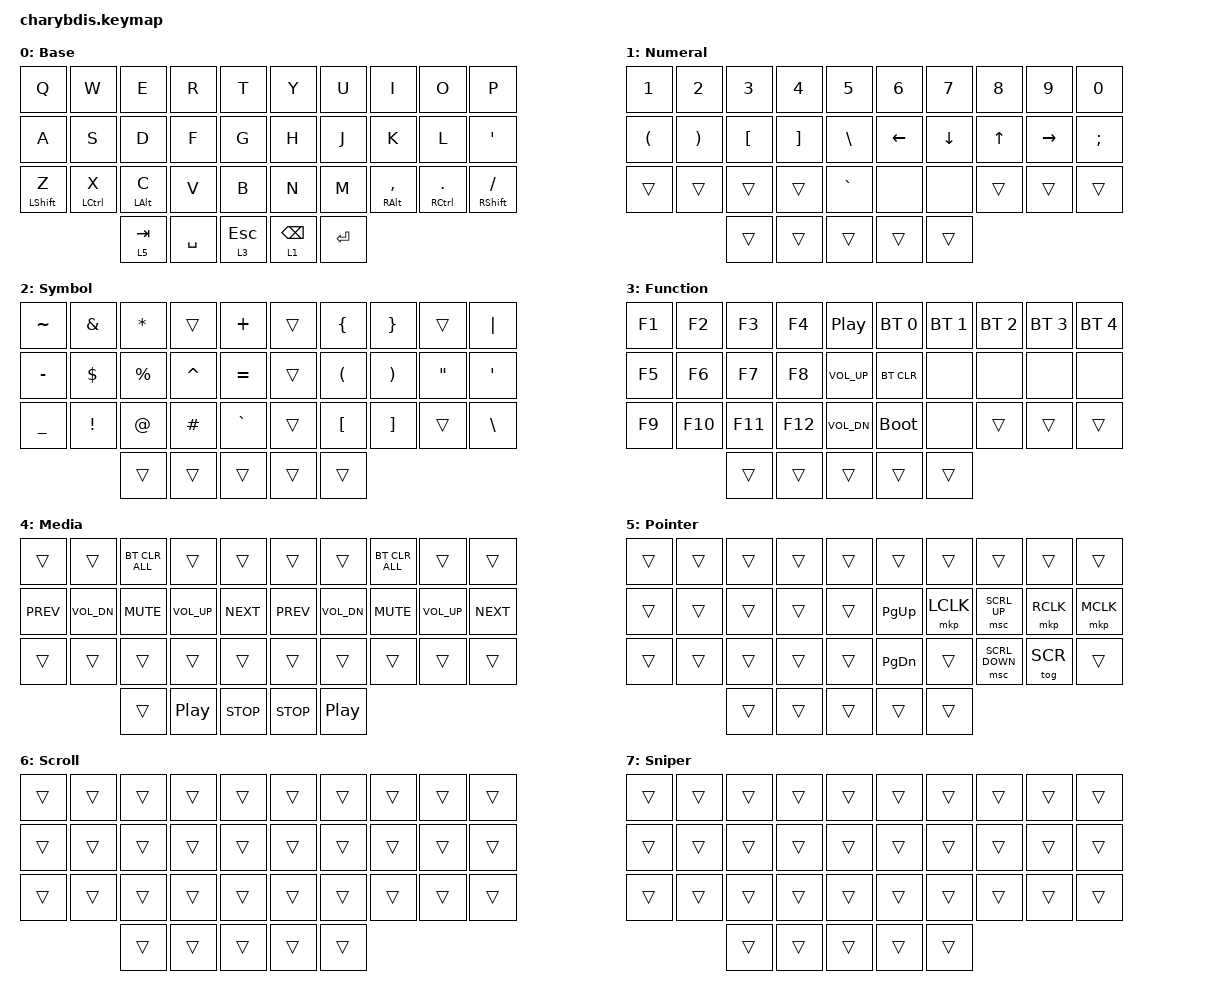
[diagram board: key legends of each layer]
#include <dt-bindings/zmk/mouse.h>
#include <behaviors/mouse_keys.dtsi>
#include <behaviors.dtsi>
#include <dt-bindings/zmk/bt.h>
#include <dt-bindings/zmk/keys.h>
#include <dt-bindings/zmk/pointing.h>

#define BASE 0
#define NUFU 1
#define SYM 2
#define NAV 3
#define MED 4
#define POI 5
#define SCR 6
#define SNI 7

&sl { release-after-ms = <250>; };

&mt {
    tapping-term-ms = <200>;
    require-prior-idle-ms = <150>;
};

/ {
    chosen { zmk,matrix_transform = &five_column_transform; };

    behaviors {
        hml: homewrow_mods_left {
            compatible = "zmk,behavior-hold-tap";
            label = "HOMEROW_MODS_LEFT_HAND";
            bindings = <&kp>, <&kp>;

            #binding-cells = <2>;
            tapping-term-ms = <280>;
            hold-trigger-key-positions = <5 6 7 8 9 15 16 17 18 19 25 26 27 28 29 33 34>;
            flavor = "balanced";
            quick-tap-ms = <175>;
            require-prior-idle-ms = <125>;
            hold-trigger-on-release;
        };

        hmr: homewrow_mods_right {
            compatible = "zmk,behavior-hold-tap";
            label = "HOMEROW_MODS_RIGHT_HAND";
            bindings = <&kp>, <&kp>;

            #binding-cells = <2>;
            tapping-term-ms = <280>;
            hold-trigger-key-positions = <0 1 2 3 4 10 11 12 13 14 20 21 22 23 24 30 31 32>;
            flavor = "balanced";
            quick-tap-ms = <175>;
            require-prior-idle-ms = <125>;
            hold-trigger-on-release;
        };
    };

    combos {
        compatible = "zmk,combos";

        minus {
            bindings = <&kp MINUS>;
            key-positions = <16 17>;
        };

        equal {
            bindings = <&kp EQUAL>;
            key-positions = <17 18>;
        };

        combo_l_leftclick {
            bindings = <&mkp LCLK>;
            key-positions = <11 12>;
            layers = <BASE>;
            timeout-ms = <40>;
            require-prior-idle-ms = <150>;
        };
    };

    keymap {
        compatible = "zmk,keymap";

        Base {
            label = "Base";
            bindings = <
  &kp Q             &kp W        &kp E           &kp R      &kp T           &kp Y            &kp U      &kp I                &kp O             &kp P
  &kp A             &kp S        &kp D           &kp F      &kp G           &kp H            &kp J      &kp K                &kp L             &kp SQT
  &mt LEFT_SHIFT Z  &mt LCTRL X  &mt LEFT_ALT C  &kp V      &kp B           &kp N            &kp M      &mt RIGHT_ALT COMMA  &mt RCTRL PERIOD  &mt RIGHT_SHIFT SLASH
                                 &lt 5 TAB       &kp SPACE  &lt 3 ESCAPE    &lt 1 BACKSPACE  &kp ENTER
            >;
        };

        NuFu {
            label = "Numeral";
            bindings = <
  &kp NUMBER_1          &kp N2                 &kp N3    &kp N4    &kp N5       &kp N6          &kp N7          &kp N8        &kp N9     &kp N0
  &kp LEFT_PARENTHESIS  &kp RIGHT_PARENTHESIS  &kp LBKT  &kp RBKT  &kp BSLH     &kp LEFT_ARROW  &kp DOWN_ARROW  &kp UP_ARROW  &kp RIGHT  &kp SEMI
  &trans                &trans                 &trans    &trans    &kp GRAVE    &none           &none           &trans        &trans     &trans
                                               &trans    &trans    &trans       &trans          &trans
            >;
        };

        Symbol {
            label = "Symbol";
            bindings = <
  &kp TILDE  &kp AMPS  &kp STAR   &trans     &kp PLUS     &trans  &kp LBRC  &kp RBRC  &trans   &kp PIPE
  &kp MINUS  &kp DLLR  &kp PRCNT  &kp CARET  &kp EQUAL    &trans  &kp LPAR  &kp RPAR  &kp DQT  &kp APOS
  &kp UNDER  &kp EXCL  &kp AT     &kp HASH   &kp GRAVE    &trans  &kp LBKT  &kp RBKT  &trans   &kp BSLH
                       &trans     &trans     &trans       &trans  &trans
            >;
        };

        Function {
            label = "Function";
            bindings = <
  &kp F1  &kp F2   &kp F3   &kp F4   &kp C_PP        &bt BT_SEL 0  &bt BT_SEL 1  &bt BT_SEL 2  &bt BT_SEL 3  &bt BT_SEL 4
  &kp F5  &kp F6   &kp F7   &kp F8   &kp C_VOL_UP    &bt BT_CLR    &none         &none         &none         &none
  &kp F9  &kp F10  &kp F11  &kp F12  &kp C_VOL_DN    &bootloader   &none         &trans        &trans        &trans
                   &trans   &trans   &trans          &trans        &trans
            >;
        };

        Media {
            label = "Media";
            bindings = <
  &trans      &trans        &bt BT_CLR_ALL  &trans            &trans        &trans      &trans            &bt BT_CLR_ALL  &trans        &trans
  &kp C_PREV  &kp C_VOL_DN  &kp C_MUTE      &kp C_VOL_UP      &kp C_NEXT    &kp C_PREV  &kp C_VOL_DN      &kp C_MUTE      &kp C_VOL_UP  &kp C_NEXT
  &trans      &trans        &trans          &trans            &trans        &trans      &trans            &trans          &trans        &trans
                            &trans          &kp C_PLAY_PAUSE  &kp C_STOP    &kp C_STOP  &kp C_PLAY_PAUSE
            >;
        };

        Pointer {
            label = "Pointer";
            bindings = <
  &trans  &trans  &trans  &trans  &trans    &trans         &trans     &trans          &trans     &trans
  &trans  &trans  &trans  &trans  &trans    &kp PG_UP      &mkp LCLK  &msc SCRL_UP    &mkp RCLK  &mkp MCLK
  &trans  &trans  &trans  &trans  &trans    &kp PAGE_DOWN  &trans     &msc SCRL_DOWN  &tog SCR   &trans
                  &trans  &trans  &trans    &trans         &trans
            >;
        };

        Scroll {
            label = "Scroll";
            bindings = <
  &trans  &trans  &trans  &trans  &trans    &trans  &trans  &trans  &trans  &trans
  &trans  &trans  &trans  &trans  &trans    &trans  &trans  &trans  &trans  &trans
  &trans  &trans  &trans  &trans  &trans    &trans  &trans  &trans  &trans  &trans
                  &trans  &trans  &trans    &trans  &trans
            >;
        };

        Sniper {
            label = "Sniper";
            bindings = <
  &trans  &trans  &trans  &trans  &trans    &trans  &trans  &trans  &trans  &trans
  &trans  &trans  &trans  &trans  &trans    &trans  &trans  &trans  &trans  &trans
  &trans  &trans  &trans  &trans  &trans    &trans  &trans  &trans  &trans  &trans
                  &trans  &trans  &trans    &trans  &trans
            >;
        };
    };
};
